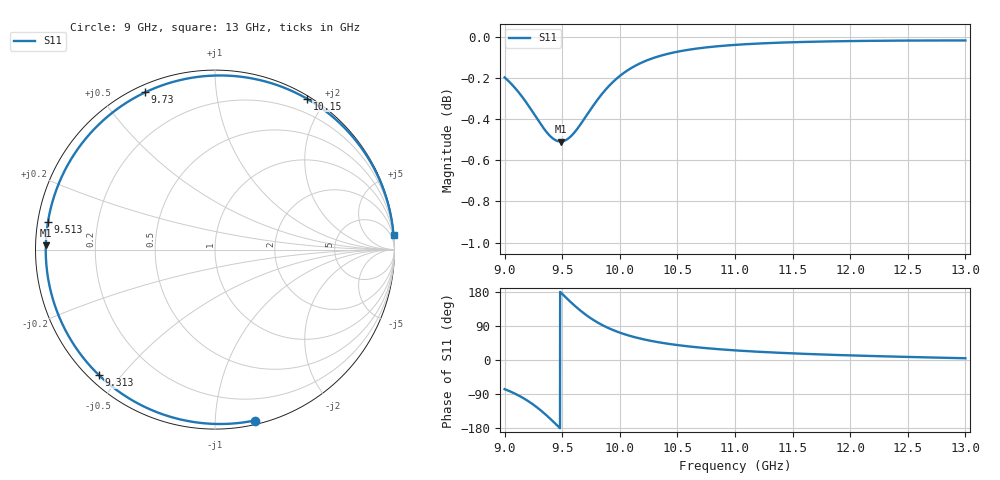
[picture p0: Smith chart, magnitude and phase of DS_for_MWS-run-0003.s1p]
! TOUCHSTONE file generated by CST DESIGN STUDIO
! Date and time: Tue Feb  4 14:06:47 2025
! Project name: C:\Work\MatlabApps\UnitCellOptimizationMatlab\CST\unitcell.cst
! Tree item: Tasks\Sweep1\SPara1\S-Parameters
! Header version: 2024
! Port assignment regex: !\s*Touchstone port\s*([0-9]+)\s*=\s*(CST MWS port|CST DES external port|CST DES block port)\s*(.+)\s* \(\"(.*)\"\)(\s*mode\s*([0-9]+))?.*
! Touchstone port assignment:
! Touchstone port 1 = CST DES external port 1 ("")
# GHz S MA R 50
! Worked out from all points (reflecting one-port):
!   4001 points, 9 GHz to 13 GHz, reference 50 ohm
!   lowest |S11| = -0.5 dB at 9.486 GHz (marker M1), VSWR 34.18, Z = 1.46 + j0.642 ohm
!   phase of S11 starts at -77 deg and turns -278 deg over the sweep
!   S11 on the Smith chart (normalised r, x): 9 GHz: 0.03, -1.26; 9.313 GHz: 0.03, -0.44; 9.513 GHz: 0.03, +0.08; 9.73 GHz: 0.03, +0.65; 10.15 GHz: 0.03, +1.78; 13 GHz: 1, +25
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9  0.9776 -76.9
9.08  0.9726 -87.4
9.179  0.9648 -103.6
9.248  0.9585 -117.5
9.313  0.9524 -132.8
9.359  0.9485 -144.8
9.407  0.9454 -158.2
9.447  0.9437 -169.9
9.486  0.9431 178.5
9.5  0.9432 174.4
9.513  0.9434 170.5
9.566  0.9454 155.0
9.626  0.9495 138.6
9.677  0.9539 125.8
9.73  0.9587 113.9
9.784  0.9636 103.2
9.845  0.9686 92.6
9.921  0.9739 81.6
10  0.9784 72.2
10.149  0.9845 58.7
10.308  0.9886 48.3
10.5  0.9917 39.4
10.722  0.9939 32.0
11  0.9956 25.4
11.5  0.997 17.5
12  0.9977 12.2
12.5  0.998 8.1
13  0.998 4.6
